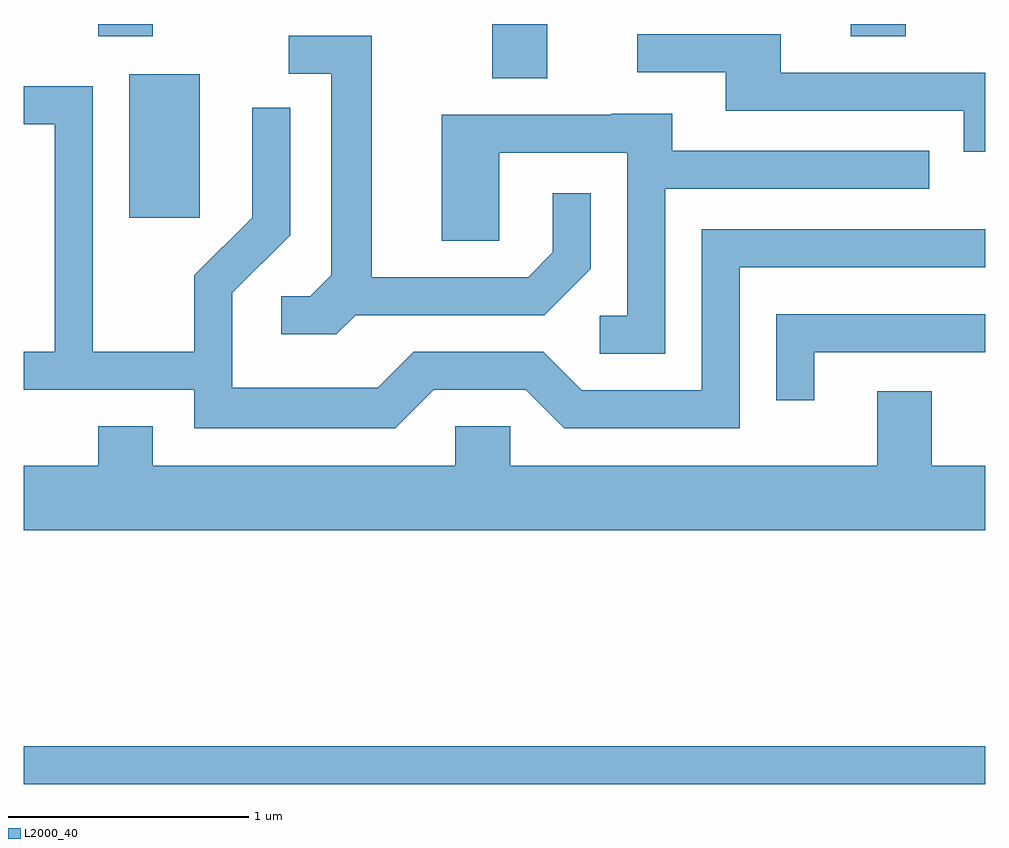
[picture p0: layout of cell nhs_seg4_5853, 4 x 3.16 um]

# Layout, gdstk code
import gdstk
lib = gdstk.Library(unit=1e-6, precision=1e-09)
def R(c, l, rs):  # rectangles x0, y0, x1, y1
    for r in rs: c.add(gdstk.rectangle(r[:2], r[2:], *l))
def P(c, l, *ps):  # polygons
    for p in ps: c.add(gdstk.Polygon(p, *l))
L2000_40 = (2000, 40)

nhs_seg4_5853 = lib.new_cell('nhs_seg4_5853')
R(nhs_seg4_5853, L2000_40, [(357.611,1264.821,361.611,1264.979), (358.051,1267.176,358.344,1267.774), (359.561,1267.756,359.789,1267.982), (357.921,1267.931,358.149,1267.982), (361.051,1267.931,361.279,1267.982)])
P(nhs_seg4_5853, L2000_40, [(361.611,1267.779),(360.759,1267.779),(360.759,1267.939),(360.163,1267.939),(360.163,1267.781),(360.531,1267.781),(360.531,1267.621),(361.521,1267.621),(361.521,1267.451),(361.611,1267.451)],
  [(358.992,1266.771),(359.777,1266.771),(359.969,1266.964),(359.969,1267.278),(359.811,1267.278),(359.811,1267.032),(359.709,1266.929),(359.059,1266.929),(359.059,1267.934),(358.713,1267.934),(358.713,1267.776),(358.891,1267.776),(358.891,1266.937),(358.804,1266.849),(358.683,1266.849),(358.683,1266.691),(358.912,1266.691)],
  [(359.317,1266.461),(359.699,1266.461),(359.859,1266.301),(360.589,1266.301),(360.589,1266.971),(361.611,1266.971),(361.611,1267.129),(360.431,1267.129),(360.431,1266.459),(359.932,1266.459),(359.772,1266.619),(359.234,1266.619),(359.084,1266.469),(358.479,1266.469),(358.479,1266.864),(358.719,1267.104),(358.719,1267.633),(358.561,1267.633),(358.561,1267.177),(358.321,1266.937),(358.321,1266.619),(357.899,1266.619),(357.899,1267.724),(357.611,1267.724),(357.611,1267.566),(357.741,1267.566),(357.741,1266.619),(357.611,1266.619),(357.611,1266.461),(358.321,1266.461),(358.321,1266.301),(359.157,1266.301)],
  [(360.279,1267.296),(361.378,1267.296),(361.378,1267.454),(360.309,1267.454),(360.309,1267.609),(360.055,1267.609),(360.055,1267.604),(359.351,1267.604),(359.351,1267.081),(359.589,1267.081),(359.589,1267.446),(360.121,1267.446),(360.121,1266.769),(360.008,1266.769),(360.008,1266.611),(360.279,1266.611)],
  [(360.899,1266.616),(361.611,1266.616),(361.611,1266.774),(360.741,1266.774),(360.741,1266.418),(360.899,1266.418)],
  [(361.611,1266.144),(361.389,1266.144),(361.389,1266.454),(361.161,1266.454),(361.161,1266.144),(359.634,1266.144),(359.634,1266.309),(359.406,1266.309),(359.406,1266.144),(358.149,1266.144),(358.149,1266.309),(357.921,1266.309),(357.921,1266.144),(357.611,1266.144),(357.611,1265.876),(361.611,1265.876)])

lib.write_gds('nhs_seg4_5853.gds')
